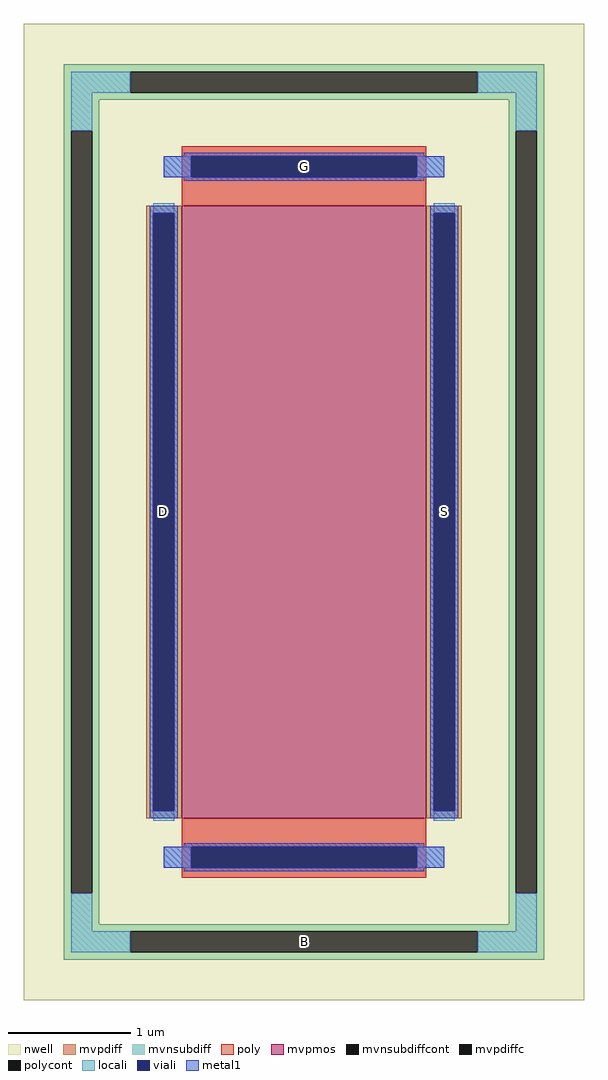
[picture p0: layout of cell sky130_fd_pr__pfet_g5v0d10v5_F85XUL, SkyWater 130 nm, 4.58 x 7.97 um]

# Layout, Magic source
magic
tech sky130A
magscale 1 2
<< nwell >>
rect -458 -797 458 797
<< mvpmos >>
rect -200 -500 200 500
<< mvpdiff >>
rect -258 488 -200 500
rect -258 -488 -246 488
rect -212 -488 -200 488
rect -258 -500 -200 -488
rect 200 488 258 500
rect 200 -488 212 488
rect 246 -488 258 488
rect 200 -500 258 -488
<< mvpdiffc >>
rect -246 -488 -212 488
rect 212 -488 246 488
<< mvnsubdiff >>
rect -392 719 392 731
rect -392 685 -284 719
rect 284 685 392 719
rect -392 673 392 685
rect -392 623 -334 673
rect -392 -623 -380 623
rect -346 -623 -334 623
rect 334 623 392 673
rect -392 -673 -334 -623
rect 334 -623 346 623
rect 380 -623 392 623
rect 334 -673 392 -623
rect -392 -685 392 -673
rect -392 -719 -284 -685
rect 284 -719 392 -685
rect -392 -731 392 -719
<< mvnsubdiffcont >>
rect -284 685 284 719
rect -380 -623 -346 623
rect 346 -623 380 623
rect -284 -719 284 -685
<< poly >>
rect -200 581 200 597
rect -200 547 -184 581
rect 184 547 200 581
rect -200 500 200 547
rect -200 -547 200 -500
rect -200 -581 -184 -547
rect 184 -581 200 -547
rect -200 -597 200 -581
<< polycont >>
rect -184 547 184 581
rect -184 -581 184 -547
<< locali >>
rect -380 685 -284 719
rect 284 685 380 719
rect -380 623 -346 685
rect 346 623 380 685
rect -229 547 -184 581
rect 184 547 229 581
rect -246 488 -212 504
rect -246 -504 -212 -488
rect 212 488 246 504
rect 212 -504 246 -488
rect -229 -581 -184 -547
rect 184 -581 229 -547
rect -380 -685 -346 -623
rect 346 -685 380 -623
rect -380 -719 -284 -685
rect 284 -719 380 -685
<< viali >>
rect -184 547 184 581
rect -246 -488 -212 488
rect 212 -488 246 488
rect -184 -581 184 -547
<< metal1 >>
rect -196 581 196 587
rect -229 547 -184 581
rect 184 547 229 581
rect -196 541 196 547
rect -252 488 -206 500
rect -252 -488 -246 488
rect -212 -488 -206 488
rect -252 -500 -206 -488
rect 206 488 252 500
rect 206 -488 212 488
rect 246 -488 252 488
rect 206 -500 252 -488
rect -196 -547 196 -541
rect -229 -581 -184 -547
rect 184 -581 229 -547
rect -196 -587 196 -581
<< labels >>
rlabel mvnsubdiffcont 0 -702 0 -702 0 B
port 1 nsew
rlabel mvpdiffc -229 0 -229 0 0 D
port 2 nsew
rlabel mvpdiffc 229 0 229 0 0 S
port 3 nsew
rlabel polycont 0 564 0 564 0 G
port 4 nsew
<< properties >>
string FIXED_BBOX -363 -702 363 702
string gencell sky130_fd_pr__pfet_g5v0d10v5
string library sky130
string parameters w 5 l 2 m 1 nf 1 diffcov 100 polycov 100 guard 1 glc 1 grc 1 gtc 1 gbc 1 tbcov 100 rlcov 100 topc 1 botc 1 poverlap 0 doverlap 1 lmin 0.50 wmin 0.42 class mosfet compatible {sky130_fd_pr__pfet_01v8  sky130_fd_pr__pfet_01v8_lvt sky130_fd_pr__pfet_01v8_hvt  sky130_fd_pr__pfet_g5v0d10v5} full_metal 1 conn_gates 1 viasrc 100 viadrn 100 viagate 100 viagb 0 viagr 0 viagl 0 viagt 0 doports 1
<< end >>
